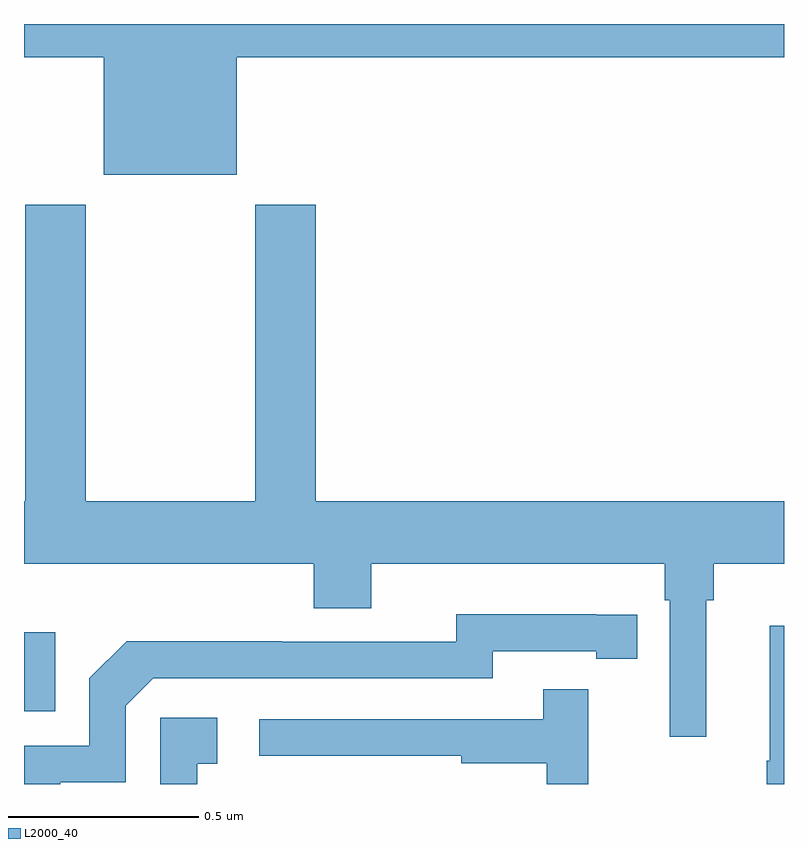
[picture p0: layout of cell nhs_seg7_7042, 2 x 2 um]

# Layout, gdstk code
import gdstk
lib = gdstk.Library(unit=1e-6, precision=1e-09)
def R(c, l, rs):  # rectangles x0, y0, x1, y1
    for r in rs: c.add(gdstk.rectangle(r[:2], r[2:], *l))
def P(c, l, *ps):  # polygons
    for p in ps: c.add(gdstk.Polygon(p, *l))
L2000_40 = (2000, 40)

nhs_seg7_7042 = lib.new_cell('nhs_seg7_7042')
R(nhs_seg7_7042, L2000_40, [(206,1036.191,206.082,1036.399)])
P(nhs_seg7_7042, L2000_40, [(206.56,1037.912),(208,1037.912),(208,1038),(206,1038),(206,1037.912),(206.21,1037.912),(206.21,1037.603),(206.56,1037.603)],
  [(207.796,1036.484),(207.815,1036.484),(207.815,1036.58),(208,1036.58),(208,1036.744),(206.768,1036.744),(206.768,1037.524),(206.608,1037.524),(206.608,1036.744),(206.163,1036.744),(206.163,1037.524),(206.003,1037.524),(206.003,1036.744),(206,1036.744),(206,1036.58),(206.762,1036.58),(206.762,1036.463),(206.914,1036.463),(206.914,1036.58),(207.686,1036.58),(207.686,1036.484),(207.699,1036.484),(207.699,1036.125),(207.796,1036.125)],
  [(206.095,1036.005),(206.268,1036.005),(206.268,1036.206),(206.34,1036.278),(207.234,1036.278),(207.234,1036.35),(207.506,1036.35),(207.506,1036.33),(207.614,1036.33),(207.614,1036.446),(207.506,1036.446),(207.506,1036.447),(207.138,1036.447),(207.138,1036.374),(206.678,1036.374),(206.678,1036.376),(206.27,1036.376),(206.172,1036.278),(206.172,1036.101),(206,1036.101),(206,1036),(206.095,1036)],
  [(208,1036.417),(207.962,1036.417),(207.962,1036.061),(207.955,1036.061),(207.955,1036),(208,1036)],
  [(207.485,1036.249),(207.367,1036.249),(207.367,1036.17),(206.619,1036.17),(206.619,1036.074),(207.151,1036.074),(207.151,1036.054),(207.375,1036.054),(207.375,1036),(207.485,1036)],
  [(206.456,1036.053),(206.509,1036.053),(206.509,1036.174),(206.358,1036.174),(206.358,1036),(206.456,1036)])

lib.write_gds('nhs_seg7_7042.gds')
